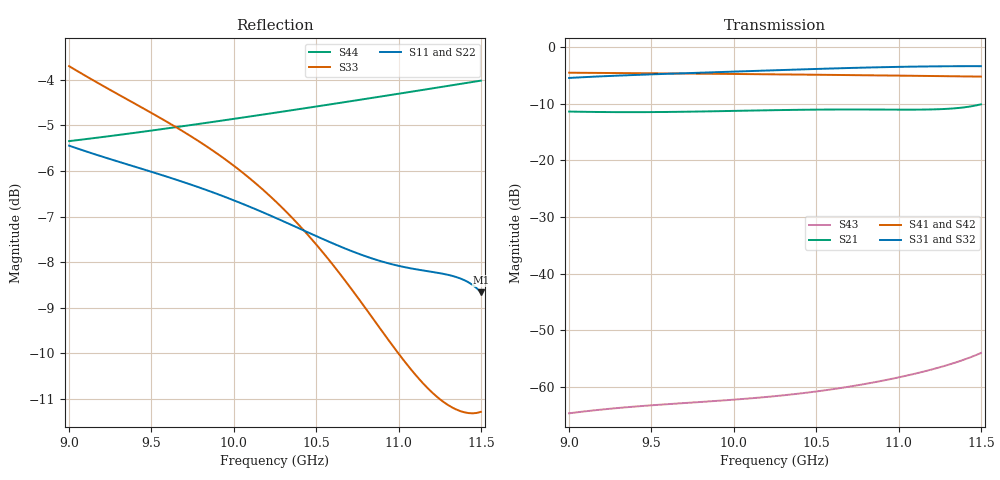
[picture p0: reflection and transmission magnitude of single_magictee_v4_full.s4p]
! Generated from PyAEDT SolutionData; AEDT ExportNetworkData workaround
# GHz S MA R 50
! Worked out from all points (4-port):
!   101 points, 9 GHz to 11.5 GHz, reference 50 ohm
!   strongest paths, dB at 9 GHz, 9.625 GHz, 10.25 GHz, 10.88 GHz, 11.5 GHz:
!     S31: -5.4, -4.7, -4.1, -3.5, -3.3
!     S32: -5.4, -4.7, -4.1, -3.5, -3.3
!     S41: -4.5, -4.6, -4.8, -5.0, -5.2
!     S42: -4.5, -4.6, -4.8, -5.0, -5.2
!     S21: -11.4, -11.4, -11.1, -11.0, -10.1
!     S43: -64.7, -63.0, -61.6, -59.1, -54.0
!   lowest |S11| = -8.7 dB at 11.5 GHz (marker M1), VSWR 2.17, Z = 28.7 + j21.3 ohm
!   |S11| at or under -10 dB: nowhere
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9  0.5342 27.6  0.2704 -48.9  0.5357 -3.2  0.5954 42.1
   0.2704 -48.9  0.5355 27.7  0.5355 -3.2  0.5945 -137.8
   0.5357 -3.2  0.5355 -3.2  0.6529 169.7  0.0005838 15.8
   0.5954 42.1  0.5945 -137.8  0.0005838 15.8  0.5404 -152.4
9.325  0.5114 -11.3  0.2672 -94.6  0.5635 -61.7  0.5912 5.9
       0.2672 -94.6  0.5128 -11.2  0.5633 -61.6  0.5902 -174.0
       0.5635 -61.7  0.5633 -61.6  0.6043 94.0  0.0006558 -45.1
       0.5912 5.9  0.5902 -174.0  0.0006558 -45.1  0.5496 174.3
9.7  0.4869 -54.6  0.2693 -145.6  0.5894 -126.7  0.5856 -34.6
     0.2693 -145.6  0.4883 -54.4  0.5892 -126.6  0.5847 145.6
     0.5894 -126.7  0.5892 -126.6  0.5526 10.4  0.0007194 -111.5
     0.5856 -34.6  0.5847 145.6  0.0007194 -111.5  0.5615 136.9
10.125  0.4556 -101.6  0.2761 157.7  0.6177 161.6  0.5785 -79.2
        0.2761 157.7  0.4571 -101.4  0.6175 161.7  0.5775 101.0
        0.6177 161.6  0.6175 161.7  0.4871 -81.4  0.0007969 178.2
        0.5785 -79.2  0.5775 101.0  0.0007969 178.2  0.576 95.2
10.6  0.4176 -150.6  0.2817 95.0  0.6495 82.0  0.5696 -127.8
      0.2817 95.0  0.4193 -150.3  0.6493 82.1  0.5686 52.4
      0.6495 82.0  0.6493 82.1  0.3958 175.0  0.0009534 103.5
      0.5696 -127.8  0.5686 52.4  0.0009534 103.5  0.5935 49.4
11.075  0.3919 164.2  0.281 34.6  0.6738 0.7  0.5599 -175.6
        0.281 34.6  0.3941 164.5  0.6736 0.9  0.5585 4.6
        0.6738 0.7  0.6736 0.9  0.3038 62.6  0.001282 27.5
        0.5599 -175.6  0.5585 4.6  0.001282 27.5  0.6121 4.0
11.5  0.3689 119.9  0.3132 -13.9  0.6803 -78.2  0.5504 142.1
      0.3132 -13.9  0.3721 120.2  0.6802 -78.0  0.5484 -37.5
      0.6803 -78.2  0.6802 -78.0  0.2729 -40.5  0.001991 -47.0
      0.5504 142.1  0.5484 -37.5  0.001991 -47.0  0.6295 -36.4
